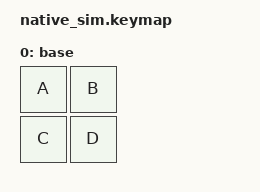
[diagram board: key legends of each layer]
/*
 * Copyright (c) 2026 amgskobo
 * SPDX-License-Identifier: MIT
 */

#include <behaviors.dtsi>
#include <dt-bindings/zmk/keys.h>
#include <dt-bindings/zmk/kscan_mock.h>
#include <dt-bindings/zmk/matrix_transform.h>
#include <physical_layouts.dtsi>

/ {
    chosen {
        zmk,physical-layout = &test_layout;
    };

    test_transform: test_transform {
        compatible = "zmk,matrix-transform";
        rows = <2>;
        columns = <2>;
        map = <RC(0,0) RC(0,1) RC(1,0) RC(1,1)>;
    };

    test_layout: test_layout {
        compatible = "zmk,physical-layout";
        display-name = "Test";
        transform = <&test_transform>;
        keys = <&key_physical_attrs 100 100 0 0 0 0 0
                &key_physical_attrs 100 100 100 0 0 0 0
                &key_physical_attrs 100 100 0 100 0 0 0
                &key_physical_attrs 100 100 100 100 0 0 0>;
    };

    keymap {
        compatible = "zmk,keymap";

        base {
            bindings = <&kp A &kp B &kp C &kp D>;
        };
    };

    vector_accel_test: vector_accel_test {
        compatible = "zmk,input-processor-vector-acceleration";
        #input-processor-cells = <0>;
        min-factor = <500>;
        max-factor = <3200>;
        unity-speed = <1200>;
        max-speed = <6000>;
        track-remainders;
    };
};

&kscan {
    events = <ZMK_MOCK_PRESS(0,0,30000)>;
};
